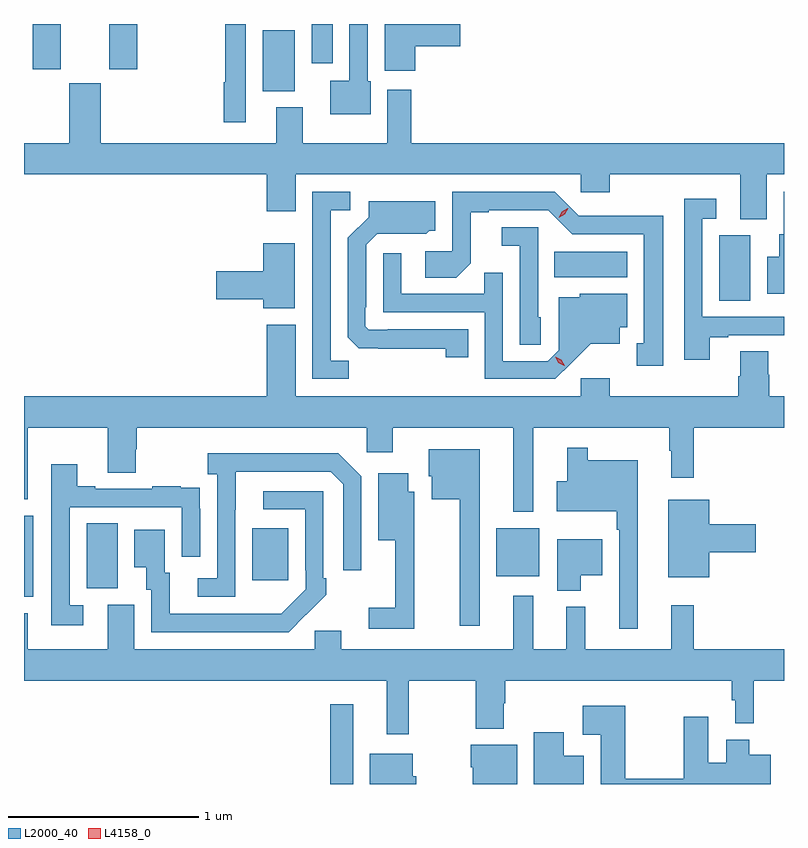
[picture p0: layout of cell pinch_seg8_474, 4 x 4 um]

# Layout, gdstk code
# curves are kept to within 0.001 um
import gdstk
lib = gdstk.Library(unit=1e-6, precision=1e-09)
def R(c, l, rs):  # rectangles x0, y0, x1, y1
    for r in rs: c.add(gdstk.rectangle(r[:2], r[2:], *l))
def P(c, l, *ps):  # polygons
    for p in ps: c.add(gdstk.Polygon(p, *l))
L2000_40 = (2000, 40)
L4158_0 = (4158, 0)

pinch_seg8_474 = lib.new_cell('pinch_seg8_474')
R(pinch_seg8_474, L2000_40, [(185.028,1133.272,185.149,1133.692), (183.417,1134.257,183.466,1134.685), (183.746,1134.301,183.91,1134.644), (184.619,1134.345,184.807,1134.619), (185.903,1134.365,186.13,1134.619), (187.076,1135.816,187.24,1136.16), (186.208,1135.94,186.592,1136.074), (184.673,1136.918,184.843,1137.238), (183.463,1137.033,183.61,1137.272), (183.866,1137.033,184.014,1137.272), (184.931,1137.066,185.041,1137.272)])
P(pinch_seg8_474, L2000_40, [(185.477,1137.155),(185.713,1137.155),(185.713,1137.272),(185.315,1137.272),(185.315,1137.027),(185.477,1137.027)],
  [(184.584,1137.272),(184.476,1137.272),(184.476,1136.966),(184.468,1136.966),(184.468,1136.754),(184.584,1136.754)],
  [(185.242,1136.97),(185.226,1136.97),(185.226,1137.272),(185.13,1137.272),(185.13,1136.974),(185.03,1136.974),(185.03,1136.798),(185.242,1136.798)],
  [(187.327,1136.48),(187.417,1136.48),(187.417,1136.644),(185.456,1136.644),(185.456,1136.926),(185.33,1136.926),(185.33,1136.644),(184.885,1136.644),(184.885,1136.833),(184.745,1136.833),(184.745,1136.644),(183.82,1136.644),(183.82,1136.961),(183.656,1136.961),(183.656,1136.644),(183.417,1136.644),(183.417,1136.48),(184.694,1136.48),(184.694,1136.286),(184.846,1136.286),(184.846,1136.48),(186.348,1136.48),(186.348,1136.387),(186.5,1136.387),(186.5,1136.48),(187.187,1136.48),(187.187,1136.245),(187.327,1136.245)],
  [(187.417,1136.388),(187.416,1136.388),(187.416,1136.166),(187.391,1136.166),(187.391,1136.047),(187.328,1136.047),(187.328,1135.851),(187.417,1135.851)],
  [(185.127,1135.499),(185.031,1135.499),(185.031,1136.292),(185.134,1136.292),(185.134,1136.388),(184.935,1136.388),(184.935,1135.404),(185.127,1135.404)],
  [(186.781,1136.264),(186.558,1136.264),(186.558,1136.262),(186.336,1136.262),(186.21,1136.388),(185.67,1136.388),(185.67,1136.076),(185.529,1136.076),(185.529,1135.936),(185.693,1135.936),(185.769,1136.012),(185.769,1136.28),(185.863,1136.28),(185.863,1136.292),(186.177,1136.292),(186.303,1136.166),(186.68,1136.166),(186.68,1135.593),(186.641,1135.593),(186.641,1135.473),(186.781,1135.473)],
  [(187.027,1135.623),(187.123,1135.623),(187.123,1135.635),(187.417,1135.635),(187.417,1135.731),(186.987,1135.731),(186.987,1136.247),(187.06,1136.247),(187.06,1136.353),(186.891,1136.353),(186.891,1135.506),(187.027,1135.506)],
  [(185.756,1135.665),(185.332,1135.665),(185.332,1135.662),(185.232,1135.662),(185.214,1135.68),(185.214,1135.78),(185.217,1135.78),(185.217,1136.109),(185.277,1136.169),(185.534,1136.168),(185.55,1136.184),(185.581,1136.184),(185.581,1136.338),(185.231,1136.338),(185.231,1136.256),(185.121,1136.146),(185.121,1135.624),(185.18,1135.565),(185.638,1135.564),(185.638,1135.518),(185.756,1135.518)],
  [(186.138,1135.728),(186.123,1135.728),(186.123,1136.202),(185.931,1136.202),(185.931,1136.105),(186.027,1136.105),(186.027,1135.585),(186.138,1135.585)],
  [(184.843,1136.119),(184.676,1136.119),(184.676,1135.97),(184.428,1135.97),(184.428,1135.823),(184.676,1135.823),(184.676,1135.775),(184.843,1135.775)],
  [(186.298,1135.487),(186.401,1135.589),(186.553,1135.589),(186.553,1135.676),(186.592,1135.676),(186.592,1135.852),(186.342,1135.852),(186.342,1135.834),(186.231,1135.834),(186.231,1135.554),(186.174,1135.497),(185.937,1135.497),(185.937,1135.964),(185.839,1135.964),(185.839,1135.851),(185.403,1135.851),(185.403,1136.065),(185.307,1136.065),(185.307,1135.755),(185.841,1135.755),(185.841,1135.404),(186.214,1135.404)],
  [(186.097,1135.148),(186.813,1135.148),(186.813,1135.025),(186.824,1135.025),(186.824,1134.885),(186.941,1134.885),(186.941,1135.148),(187.417,1135.148),(187.417,1135.312),(187.34,1135.312),(187.34,1135.425),(187.335,1135.425),(187.335,1135.55),(187.187,1135.55),(187.187,1135.418),(187.175,1135.418),(187.175,1135.312),(186.5,1135.312),(186.5,1135.408),(186.348,1135.408),(186.348,1135.312),(184.846,1135.312),(184.846,1135.69),(184.694,1135.69),(184.694,1135.312),(183.417,1135.312),(183.417,1134.77),(183.436,1134.77),(183.436,1135.148),(183.857,1135.148),(183.857,1134.91),(184.005,1134.91),(184.005,1135.035),(184.01,1135.035),(184.01,1135.148),(185.22,1135.148),(185.22,1135.017),(185.359,1135.017),(185.359,1135.148),(185.993,1135.148),(185.993,1134.704),(186.097,1134.704)],
  [(186.646,1134.976),(186.385,1134.976),(186.385,1135.042),(186.275,1135.042),(186.275,1134.865),(186.222,1134.865),(186.222,1134.707),(186.537,1134.707),(186.537,1134.611),(186.549,1134.611),(186.549,1134.09),(186.646,1134.09)],
  [(185.815,1135.033),(185.546,1135.033),(185.546,1134.891),(185.564,1134.891),(185.564,1134.77),(185.711,1134.77),(185.711,1134.105),(185.815,1134.105)],
  [(184.53,1134.715),(184.531,1134.915),(185.031,1134.915),(185.097,1134.849),(185.097,1134.396),(185.193,1134.396),(185.193,1134.891),(185.072,1135.012),(184.383,1135.012),(184.383,1134.902),(184.434,1134.902),(184.434,1134.354),(184.332,1134.354),(184.332,1134.258),(184.53,1134.258)],
  [(183.73,1134.213),(183.657,1134.213),(183.657,1134.729),(184.248,1134.729),(184.248,1134.468),(184.344,1134.468),(184.344,1134.722),(184.343,1134.722),(184.343,1134.831),(184.241,1134.831),(184.241,1134.838),(184.093,1134.838),(184.093,1134.825),(183.793,1134.825),(183.793,1134.838),(183.697,1134.838),(183.697,1134.955),(183.561,1134.955),(183.561,1134.108),(183.73,1134.108)],
  [(185.472,1134.811),(185.44,1134.811),(185.44,1134.907),(185.282,1134.907),(185.282,1134.554),(185.372,1134.554),(185.372,1134.199),(185.232,1134.199),(185.232,1134.09),(185.472,1134.09)],
  [(184.901,1134.163),(184.902,1134.162),(185.007,1134.267),(185.007,1134.355),(184.992,1134.355),(184.992,1134.813),(184.677,1134.813),(184.677,1134.717),(184.896,1134.717),(184.896,1134.397),(184.899,1134.397),(184.899,1134.297),(184.771,1134.169),(184.183,1134.168),(184.183,1134.384),(184.159,1134.384),(184.159,1134.61),(183.998,1134.61),(183.998,1134.413),(184.061,1134.413),(184.061,1134.294),(184.086,1134.294),(184.086,1134.072),(184.81,1134.072)],
  [(187.024,1134.491),(187.267,1134.491),(187.267,1134.638),(187.024,1134.638),(187.024,1134.769),(186.809,1134.769),(186.809,1134.359),(187.024,1134.359)],
  [(186.346,1134.371),(186.46,1134.371),(186.46,1134.559),(186.224,1134.559),(186.224,1134.29),(186.346,1134.29)],
  [(185.441,1133.816),(185.794,1133.816),(185.794,1133.564),(185.941,1133.564),(185.941,1133.696),(185.949,1133.696),(185.949,1133.816),(187.141,1133.816),(187.141,1133.713),(187.16,1133.713),(187.16,1133.591),(187.259,1133.591),(187.259,1133.816),(187.417,1133.816),(187.417,1133.98),(186.941,1133.98),(186.941,1134.214),(186.824,1134.214),(186.824,1133.98),(186.371,1133.98),(186.371,1134.205),(186.272,1134.205),(186.272,1133.98),(186.097,1133.98),(186.097,1134.262),(185.993,1134.262),(185.993,1133.98),(185.086,1133.98),(185.086,1134.078),(184.947,1134.078),(184.947,1133.98),(183.997,1133.98),(183.997,1134.216),(183.857,1134.216),(183.857,1133.98),(183.436,1133.98),(183.436,1134.172),(183.417,1134.172),(183.417,1133.816),(185.327,1133.816),(185.327,1133.535),(185.441,1133.535)],
  [(187.348,1133.425),(187.234,1133.425),(187.234,1133.506),(187.112,1133.506),(187.112,1133.385),(187.018,1133.385),(187.018,1133.626),(186.889,1133.626),(186.889,1133.3),(186.582,1133.3),(186.582,1133.683),(186.357,1133.683),(186.357,1133.531),(186.452,1133.531),(186.452,1133.272),(187.348,1133.272)],
  [(186.364,1133.422),(186.259,1133.422),(186.259,1133.545),(186.101,1133.545),(186.101,1133.272),(186.364,1133.272)],
  [(186.013,1133.479),(185.768,1133.479),(185.768,1133.361),(185.78,1133.361),(185.78,1133.272),(186.013,1133.272)],
  [(185.482,1133.313),(185.464,1133.313),(185.464,1133.431),(185.237,1133.431),(185.237,1133.272),(185.482,1133.272)])
P(pinch_seg8_474, L4158_0, [(186.231,1136.252),(186.231,1136.252),(186.248,1136.284),(186.28,1136.303),(186.281,1136.303),(186.281,1136.303),(186.263,1136.27),(186.231,1136.252)],
  [(186.261,1135.474),(186.23,1135.49),(186.213,1135.52),(186.213,1135.52),(186.214,1135.52),(186.244,1135.504),(186.262,1135.474),(186.262,1135.474)])

lib.write_gds('pinch_seg8_474.gds')
